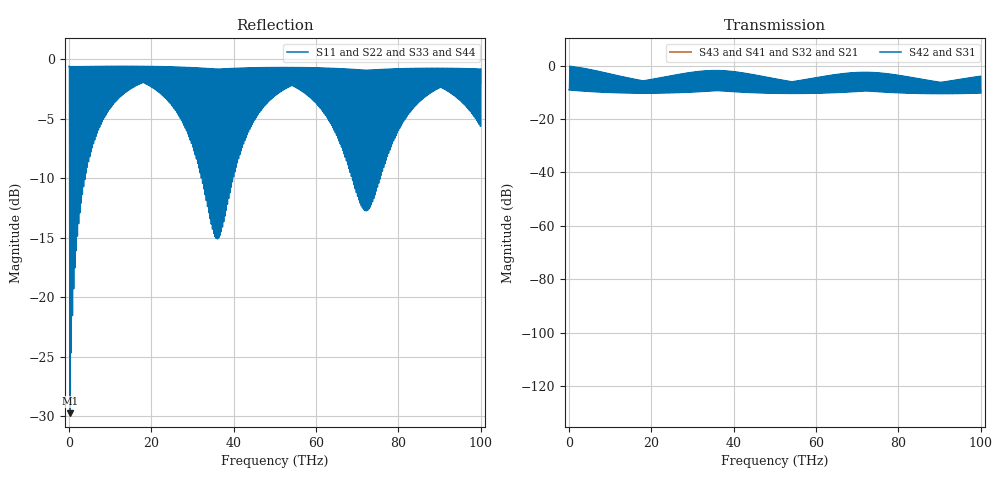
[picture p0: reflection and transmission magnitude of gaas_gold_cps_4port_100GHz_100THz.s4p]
# Hz S RI R 50
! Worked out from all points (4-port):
!   1000 points, 100 GHz to 100 THz, reference 50 ohm
!   strongest paths, dB at 100 GHz, 25.1 THz, 50.1 THz, 75.1 THz, 100 THz:
!     S42: -9.0, -10.2, -10.4, -9.8, -10.2
!     S31: -9.0, -10.2, -10.4, -9.8, -10.2
!     S43: -, -, -, -, -
!     S41: -, -, -, -, -
!     S32: -, -, -, -, -
!     S21: -, -, -, -, -
!   lowest |S11| = -29.8 dB at 300 GHz (marker M1), VSWR 1.07, Z = 52 + j2.66 ohm
!   |S11| at or under -10 dB: 232.2 GHz to 367.8 GHz (135.6 GHz wide, 45.2 % of centre); 539 GHz to 661 GHz (122 GHz wide, 20.3 % of centre); 844.9 GHz to 955.2 GHz (110.4 GHz wide, 12.3 % of centre)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
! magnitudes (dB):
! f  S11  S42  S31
! 100 GHz  -0.6  -9.0  -9.0
! 300 GHz  -29.8  -0.2  -0.2
! 800 GHz  -0.6  -9.2  -9.2
! 3 THz  -12.1  -0.8  -0.8
! 11.7 THz  -3.4  -3.6  -3.6
! 35.9 THz  -0.8  -9.3  -9.3
! 100 THz  -0.8  -10.2  -10.2
